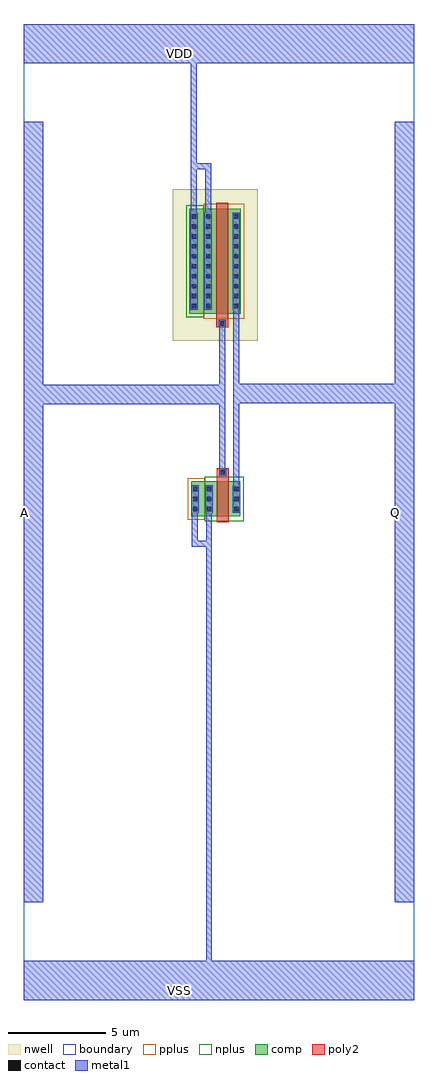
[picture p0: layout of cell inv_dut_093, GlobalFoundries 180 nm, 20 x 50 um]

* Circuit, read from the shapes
.subckt inv_dut_093 A Q VDD VSS
XM1 Q A VSS VSS nfet_03v3 w=1.8u l=0.6u
XM2 Q A VDD VDD pfet_03v3 w=5.4u l=0.6u
.ends

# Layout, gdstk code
from math import pi, radians
import gdstk
lib = gdstk.Library(unit=1e-6, precision=1e-09)
def R(c, l, rs):  # rectangles x0, y0, x1, y1
    for r in rs: c.add(gdstk.rectangle(r[:2], r[2:], *l))
def A(c, l, x, y, w, h, nx, ny, dx, dy):  # array of equal rectangles
    R(c, l, [(x+i*dx, y+j*dy, x+i*dx+w, y+j*dy+h) for i in range(nx) for j in range(ny)])
boundary = (0, 0)
nwell = (21, 0)
comp = (22, 0)
poly2 = (30, 0)
pplus = (31, 0)
nplus = (32, 0)
contact = (33, 0)
metal1 = (34, 0)

nfet = lib.new_cell('nfet')
R(nfet, comp, [(-0.42,0,2.11,1.8)])
R(nfet, poly2, [(0.19,-0.3,0.79,2.46)])
R(nfet, pplus, [(1.4,-0.17,2.28,1.97)])
R(nfet, nplus, [(-0.59,-0.24,1.4,2.04)])
A(nfet, contact, -0.32, 0.28, 0.22, 0.22, 1, 3, 0, 0.51)
A(nfet, contact, 1.08, 0.28, 0.22, 0.22, 1, 3, 0, 0.51)
A(nfet, contact, 1.79, 0.28, 0.22, 0.22, 1, 3, 0, 0.51)
R(nfet, contact, [(0.38,2.17,0.6,2.39)])
R(nfet, metal1, [(-0.4,0.2,-0.02,1.6), (1,0.2,1.38,1.6), (1.71,0.2,2.09,1.6), (0.3,2.09,0.68,2.47)])

pfet = lib.new_cell('pfet')
R(pfet, nwell, [(-1.32,-0.99,3.03,6.77)])
R(pfet, comp, [(-0.46,0,2.17,5.4)])
R(pfet, poly2, [(0.19,-0.3,0.79,6.08)])
R(pfet, pplus, [(-0.63,-0.24,1.44,5.64)])
R(pfet, nplus, [(1.44,-0.17,2.34,5.57)])
A(pfet, contact, -0.34, 0.295, 0.22, 0.22, 1, 10, 0, 0.51)
A(pfet, contact, 1.1, 0.295, 0.22, 0.22, 1, 10, 0, 0.51)
A(pfet, contact, 1.83, 0.295, 0.22, 0.22, 1, 10, 0, 0.51)
R(pfet, contact, [(0.38,5.78,0.6,6)])
R(pfet, metal1, [(-0.42,0.215,-0.04,5.185), (1.02,0.215,1.4,5.185), (1.75,0.215,2.13,5.185), (0.3,5.7,0.68,6.08)])

inv_dut_093 = lib.new_cell('inv_dut_093')
R(inv_dut_093, boundary, [(-10,-25,10,25)])
R(inv_dut_093, metal1, [(-10,-25,10,-23), (-10,-20,-9,20), (9,-20,10,20), (-10,23,10,25)])
inv_dut_093.add(gdstk.FlexPath([(-1.285,15.18),(-1.285,23.665)], 0.3, ends="flush", simple_path=True, layer=34, datatype=0))  # metal1
inv_dut_093.add(gdstk.FlexPath([(-0.555,15.15),(-0.555,17.705),(-1.22,17.705)], 0.3, ends="flush", simple_path=True, layer=34, datatype=0))  # metal1
inv_dut_093.add(gdstk.FlexPath([(-0.515,0.15),(-0.515,-23.61)], 0.3, ends="flush", simple_path=True, layer=34, datatype=0))  # metal1
inv_dut_093.add(gdstk.FlexPath([(-1.235,0.095),(-1.235,-1.625),(-0.515,-1.625)], 0.3, ends="flush", simple_path=True, layer=34, datatype=0))  # metal1
inv_dut_093.add(gdstk.FlexPath([(0.16,9.65),(0.16,1.985)], 0.3, ends="flush", simple_path=True, layer=34, datatype=0))  # metal1
inv_dut_093.add(gdstk.FlexPath([(0.89,10.485),(0.89,1.19)], 0.3, ends="flush", simple_path=True, layer=34, datatype=0))  # metal1
inv_dut_093.add(gdstk.FlexPath([(0.94,6.06),(9.335,6.06)], 1, ends="flush", simple_path=True, layer=34, datatype=0))  # metal1
inv_dut_093.add(gdstk.FlexPath([(-9.57,6.03),(0.145,6.03)], 1, ends="flush", simple_path=True, layer=34, datatype=0))  # metal1
inv_dut_093.add(gdstk.Reference(nfet, (0.68,-0.23), rotation=pi, x_reflection=True))
inv_dut_093.add(gdstk.Reference(pfet, (0.655,15.545), rotation=pi))
inv_dut_093.add(gdstk.Label('VDD', (-2,23.5), layer=34, texttype=10))
inv_dut_093.add(gdstk.Label('VSS', (-2,-24.5), layer=34, texttype=10))
inv_dut_093.add(gdstk.Label('A', (-9.97,0), layer=34, texttype=10))
inv_dut_093.add(gdstk.Label('Q', (9.03,0), layer=34, texttype=10))

lib.write_gds('inv_dut_093.gds')
